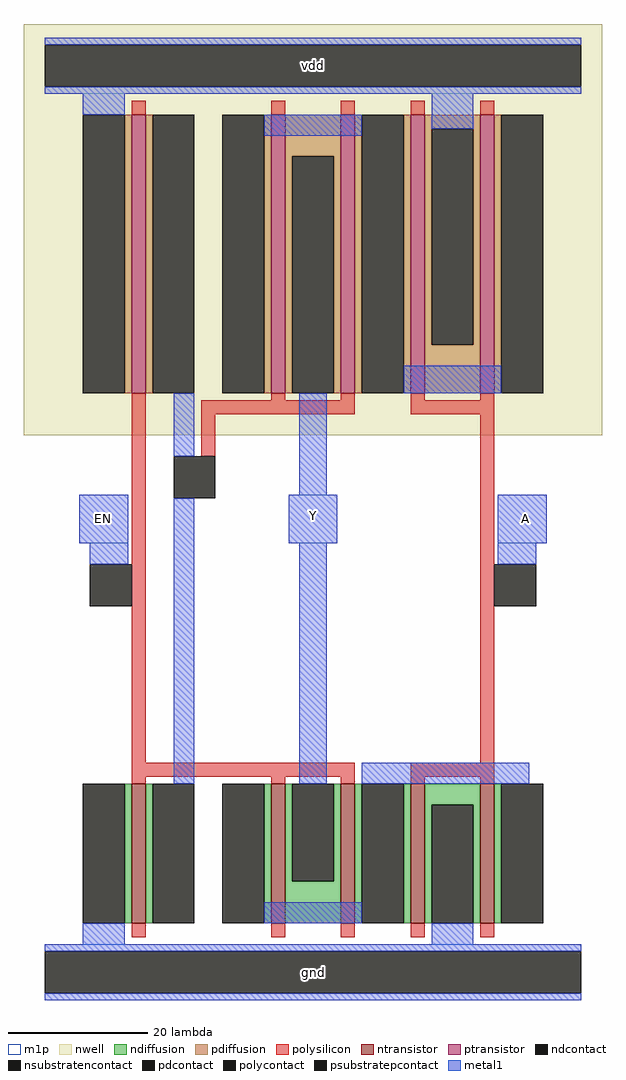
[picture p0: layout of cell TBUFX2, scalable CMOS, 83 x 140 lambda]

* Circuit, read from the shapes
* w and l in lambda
.subckt TBUFX2 A EN Y vdd gnd
M1 n1 EN gnd gnd nfet w=20 l=2
M2 Y EN n2 gnd nfet w=20 l=2 m=2
M3 gnd A n2 gnd nfet w=20 l=2 m=2
M4 n1 EN vdd vdd pfet w=40 l=2
M5 Y n1 n3 vdd pfet w=40 l=2 m=2
M6 vdd A n3 vdd pfet w=40 l=2 m=2
.ends

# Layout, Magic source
magic
tech scmos
magscale 1 2
<< nwell >>
rect -13 154 153 272
<< ntransistor >>
rect 18 14 22 54
rect 58 14 62 54
rect 78 14 82 54
rect 98 14 102 54
rect 118 14 122 54
<< ptransistor >>
rect 18 166 22 246
rect 58 166 62 246
rect 78 166 82 246
rect 98 166 102 246
rect 118 166 122 246
<< ndiffusion >>
rect 16 14 18 54
rect 22 14 24 54
rect 56 14 58 54
rect 62 26 64 54
rect 76 26 78 54
rect 62 14 78 26
rect 82 14 84 54
rect 96 14 98 54
rect 102 48 118 54
rect 102 14 104 48
rect 116 14 118 48
rect 122 14 124 54
<< pdiffusion >>
rect 16 166 18 246
rect 22 166 24 246
rect 56 166 58 246
rect 62 234 78 246
rect 62 166 64 234
rect 76 166 78 234
rect 82 166 84 246
rect 96 166 98 246
rect 102 242 118 246
rect 102 180 104 242
rect 116 180 118 242
rect 102 166 118 180
rect 122 166 124 246
<< ndcontact >>
rect 4 14 16 54
rect 24 14 36 54
rect 44 14 56 54
rect 64 26 76 54
rect 84 14 96 54
rect 104 14 116 48
rect 124 14 136 54
<< pdcontact >>
rect 4 166 16 246
rect 24 166 36 246
rect 44 166 56 246
rect 64 166 76 234
rect 84 166 96 246
rect 104 180 116 242
rect 124 166 136 246
<< psubstratepcontact >>
rect -7 -6 147 6
<< nsubstratencontact >>
rect -7 254 147 266
<< polysilicon >>
rect 18 246 22 250
rect 58 246 62 250
rect 78 246 82 250
rect 98 246 102 250
rect 118 246 122 250
rect 18 60 22 166
rect 58 164 62 166
rect 78 164 82 166
rect 38 160 82 164
rect 98 164 102 166
rect 118 164 122 166
rect 98 160 122 164
rect 38 148 42 160
rect 118 60 122 160
rect 18 56 82 60
rect 18 54 22 56
rect 58 54 62 56
rect 78 54 82 56
rect 98 56 122 60
rect 98 54 102 56
rect 118 54 122 56
rect 18 10 22 14
rect 58 10 62 14
rect 78 10 82 14
rect 98 10 102 14
rect 118 10 122 14
<< polycontact >>
rect 6 105 18 117
rect 30 136 42 148
rect 122 105 134 117
<< metal1 >>
rect -7 266 147 268
rect -7 252 147 254
rect 4 246 16 252
rect 56 240 84 246
rect 104 242 116 252
rect 96 166 124 174
rect 30 148 36 166
rect 3 123 17 137
rect 6 117 17 123
rect 66 137 74 166
rect 30 54 36 136
rect 63 123 77 137
rect 123 123 137 137
rect 66 54 74 123
rect 123 117 134 123
rect 84 54 132 60
rect 56 14 84 20
rect 4 8 16 14
rect 104 8 116 14
rect -7 6 147 8
rect -7 -8 147 -6
<< m1p >>
rect -7 252 147 268
rect 3 123 17 137
rect 63 123 77 137
rect 123 123 137 137
rect -7 -8 147 8
<< labels >>
rlabel nsubstratencontact 70 260 70 260 0 vdd
port 4 nsew power bidirectional abutment
rlabel psubstratepcontact 70 0 70 0 0 gnd
port 5 nsew ground bidirectional abutment
rlabel metal1 10 130 10 130 0 EN
port 2 nsew signal input
rlabel metal1 70 131 70 131 0 Y
port 3 nsew signal output
rlabel metal1 131 130 131 130 0 A
port 1 nsew signal input
<< properties >>
string FIXED_BBOX 0 0 140 260
string LEFclass CORE
string LEFsite core
string LEFsymmetry X Y
<< end >>
